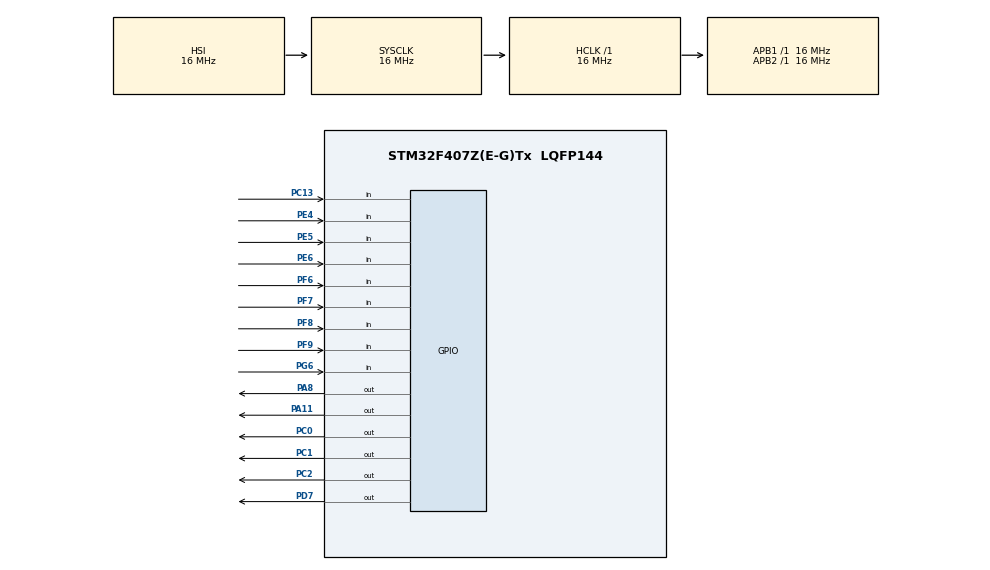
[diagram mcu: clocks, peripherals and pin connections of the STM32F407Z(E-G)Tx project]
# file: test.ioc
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Mcu.Family=STM32F4
Mcu.Name=STM32F407Z(E-G)Tx
Mcu.Package=LQFP144
NVIC.PriorityGroup=NVIC_PRIORITYGROUP_4
PA10.Signal=UART5_RX
PA11.Signal=GPIO_Output
PA13.Signal=SYS_JTMS-SWDIO
PA14.Signal=SYS_JTCK-SWCLK
PA3.Signal=USART2_RX
PA6.Signal=S_TIM3_CH1
PA7.Signal=S_TIM3_CH2
PA8.Signal=GPIO_Output
PA9.Signal=UART5_TX
PB10.Signal=I2C2_SCL
PB11.Signal=I2C2_SDA
PB12.Signal=SPI2_NSS
PB13.Signal=SPI2_SCK
PB14.Signal=SPI2_MISO
PB15.Signal=SPI2_MOSI
PC0.Signal=GPIO_Output
PC1.Signal=GPIO_Output
PC10.Signal=UART4_TX
PC11.Signal=UART4_RX
PC12.Signal=UART5_TX
PC13-ANTI_TAMP.Signal=GPIO_Input
PC14-OSC32_IN.Mode=LSE-External-Oscillator
PC14-OSC32_IN.Signal=RCC_OSC32_IN
PC15-OSC32_OUT.Mode=LSE-External-Oscillator
PC15-OSC32_OUT.Signal=RCC_OSC32_OUT
PC2.Signal=GPIO_Output
PC6.Signal=USART6_TX
PD0.Signal=FSMC_D2_DA2
PD1.Signal=FSMC_D3_DA3
PD10.Signal=FSMC_D15_DA15
PD11.Signal=FSMC_A16_CLE
PD12.Signal=FSMC_A17_ALE
PD13.Signal=FSMC_A18
PD14.Signal=FSMC_D0_DA0
PD15.Signal=FSMC_D1_DA1
PD2.Signal=UART5_RX
PD4.Signal=FSMC_NOE
PD5.Signal=FSMC_NWE
PD7.Signal=GPIO_Output
PD8.Signal=FSMC_D13_DA13
PD9.Signal=FSMC_D14_DA14
PE0.Signal=FSMC_NBL0
PE1.Signal=FSMC_NBL1
PE10.Signal=FSMC_D7_DA7
PE11.Signal=FSMC_D8_DA8
PE12.Signal=FSMC_D9_DA9
PE13.Signal=FSMC_D10_DA10
PE14.Signal=FSMC_D11_DA11
PE15.Signal=FSMC_D12_DA12
PE4.Signal=GPIO_Input
PE5.Signal=GPIO_Input
PE6.Signal=GPIO_Input
PE7.Signal=FSMC_D4_DA4
PE8.Signal=FSMC_D5_DA5
PE9.Signal=FSMC_D6_DA6
PF0.Signal=FSMC_A0
PF1.Signal=FSMC_A1
PF12.Signal=FSMC_A6
PF13.Signal=FSMC_A7
PF14.Signal=FSMC_A8
PF15.Signal=FSMC_A9
PF2.Signal=FSMC_A2
PF3.Signal=FSMC_A3
PF4.Signal=FSMC_A4
PF5.Signal=FSMC_A5
PF6.Signal=GPIO_Input
PF7.Signal=GPIO_Input
PF8.Signal=GPIO_Input
PF9.Signal=GPIO_Input
PG0.Signal=FSMC_A10
PG1.Signal=FSMC_A11
PG10.Signal=FSMC_NE3
PG2.Signal=FSMC_A12
PG3.Signal=FSMC_A13
PG4.Signal=FSMC_A14
PG5.Signal=FSMC_A15
PG6.Signal=GPIO_Input
PG9.Signal=FSMC_NE2
PH0-OSC_IN.Mode=HSE-External-Oscillator
PH0-OSC_IN.Signal=RCC_OSC_IN
PH1-OSC_OUT.Mode=HSE-External-Oscillator
PH1-OSC_OUT.Signal=RCC_OSC_OUT
ProjectManager.HeapSize=0x200
ProjectManager.StackSize=0x400
ProjectManager.TargetToolchain=MDK-ARM V5.32
RCC.AHBFreq_Value=16000000
RCC.APB1Freq_Value=16000000
RCC.APB2Freq_Value=16000000
RCC.CortexFreq_Value=16000000
RCC.HSE_VALUE=8000000
RCC.HSI_VALUE=16000000
RCC.SYSCLKFreq_VALUE=16000000
RCC.VCOOutputFreq_Value=192000000
SH.FSMC_A0.0=FSMC_A0
SH.FSMC_A1.0=FSMC_A1
SH.FSMC_A10.0=FSMC_A10
SH.FSMC_A11.0=FSMC_A11
SH.FSMC_A12.0=FSMC_A12
SH.FSMC_A13.0=FSMC_A13
SH.FSMC_A14.0=FSMC_A14
SH.FSMC_A15.0=FSMC_A15
SH.FSMC_A16_CLE.0=FSMC_A16
SH.FSMC_A17_ALE.0=FSMC_A17
SH.FSMC_A18.0=FSMC_A18
SH.FSMC_A2.0=FSMC_A2
SH.FSMC_A3.0=FSMC_A3
SH.FSMC_A4.0=FSMC_A4
SH.FSMC_A5.0=FSMC_A5
SH.FSMC_A6.0=FSMC_A6
SH.FSMC_A7.0=FSMC_A7
SH.FSMC_A8.0=FSMC_A8
SH.FSMC_A9.0=FSMC_A9
SH.FSMC_D0_DA0.0=FSMC_D0
SH.FSMC_D10_DA10.0=FSMC_D10
SH.FSMC_D11_DA11.0=FSMC_D11
SH.FSMC_D12_DA12.0=FSMC_D12
SH.FSMC_D13_DA13.0=FSMC_D13
SH.FSMC_D14_DA14.0=FSMC_D14
SH.FSMC_D15_DA15.0=FSMC_D15
SH.FSMC_D1_DA1.0=FSMC_D1
SH.FSMC_D2_DA2.0=FSMC_D2
SH.FSMC_D3_DA3.0=FSMC_D3
SH.FSMC_D4_DA4.0=FSMC_D4
SH.FSMC_D5_DA5.0=FSMC_D5
SH.FSMC_D6_DA6.0=FSMC_D6
SH.FSMC_D7_DA7.0=FSMC_D7
SH.FSMC_D8_DA8.0=FSMC_D8
SH.FSMC_D9_DA9.0=FSMC_D9
SH.FSMC_NBL0.0=FSMC_NBL0
SH.FSMC_NBL1.0=FSMC_NBL1
SH.FSMC_NOE.0=FSMC_NOE
SH.FSMC_NWE.0=FSMC_NWE
SH.S_TIM3_CH1.0=TIM3_CH1
SH.S_TIM3_CH2.0=TIM3_CH2
board=custom

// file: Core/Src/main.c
/* USER CODE BEGIN Header */

/**
  ******************************************************************************
  * @file           : main.c
  * @brief          : Main program body
  ******************************************************************************
  * @attention
  *
  * Copyright (c) 2026 STMicroelectronics.
  * All rights reserved.
  *
  * This software is licensed under terms that can be found in the LICENSE file
  * in the root directory of this software component.
  * If no LICENSE file comes with this software, it is provided AS-IS.
  *
  ******************************************************************************
  */

/* USER CODE END Header */
#include "main.h"

/* USER CODE BEGIN Includes */
#include "sys.h"
#include "delay.h"
#include "usart.h"
#include "usart2.h"
#include "led.h"
#include "atim.h"
#include "step_motor.h"
#include "pid.h"
#include "flash_param.h"
#include "exti.h"
#include "cmd_handler.h"
#include "rtc.h"

/************************************************/
/************************************************/
extern TIM_HandleTypeDef g_timx_encode_chy_handle;
extern TIM_HandleTypeDef timx_handler;      /* TIM6句柄，atim.c中定义 */
extern u8 time_run;
extern volatile u32 rx_debug_cnt;
u8 printf_flag = 0;
u8 run_flag = 0;
u8 run_printf_flag = 0;
u8 write_flag = 0;
u8 direction = 2;
int station_x = 0, station_k1 = 0;
int error = 0;
int32_t Encode_now;
int start = 0;
int DIR = 0; // 电机方向
int out;
int Ring = 0;
int Ding = 0;
int pulse_add;
int32_t force = 1000;
int32_t force_F = 2500;
int time_c = 100;
int duzhuan_flag;
int alarm = 0;
int undershoot_cnt = 0;  /* 欠冲计数 */
int overshoot_cnt = 0;   /* 过冲计数 */
int passhole_cnt = 0;    /* 过孔位计数 */
int32_t total_cycles = 0; /* 总转动孔位计数 (Flash持久化, 耐久验证) */
float SetPoint_C;

/*********** PID参数 ************/
float SetPoint_P;       /* 目标值 */
float ActualValue_P;    /* 实际值 */
float SumError_P;       /* 累计误差 */
float Proportion_P;     /* 比例 P */
float Integral_P;       /* 积分 I */
float Derivative_P;     /* 微分 D */
float Error_P;          /* Error[1] */
float LastError_P;      /* Error[-1] */
float PrevError_P;      /* Error[-2] */
float SetPoint_S;       /* 目标值 */
float ActualValue_S;    /* 实际值 */
float SumError_S;       /* 累计误差 */
float Proportion_S;     /* 比例 P */
float Integral_S;       /* 积分 I */
float Derivative_S;     /* 微分 D */
float Error_S;          /* Error[1] */
float LastError_S;      /* Error[-1] */
float PrevError_S;      /* Error[-2] */
float speed_m;          /* 电机速度 */
float location;         /* 位置 */
int32_t motor_pwm;      /* 电机PWM值 */
int32_t pulse_low = 14000;  // 进孔脉冲数 (慢速段起始)
int32_t pulse_buf = 30000;  // 缓冲段起始脉冲数 (三段式: 全速→缓冲→慢速)
int time_buf = 500;         // 缓冲段入口速度 (S曲线起点, 推荐 force的50%~70%)
int32_t pulse_out = 39000;  // 出孔脉冲数
int32_t pluse_ele = 34000;  // 光电检测脉冲限制
int loop1 = 0;
int loop2 = 0;
int PhotoPos = 1;
int32_t addr;
int32_t writeFlashData;
int dbg_print_ms = 0;                   /* 调试打印间隔(ms), 0=关闭 */

/* USER CODE END Includes */
void SystemClock_Config(void);

static void MX_GPIO_Init(void);

int main(void)
{

  /* USER CODE BEGIN 1 */
	u8 len;
    int32_t i = 0;
    //SCB->VTOR = FLASH_BASE | 0x10000;
  SCB->VTOR = FLASH_BASE;

  /* USER CODE END 1 */
  /* MCU Configuration--------------------------------------------------------*/
  /* Reset of all peripherals, Initializes the Flash interface and the Systick. */
  HAL_Init();

  /* USER CODE BEGIN Init */
    Stm32_Clock_Init();
    delay_init(168);
    rtc_init();                          /* 初始化RTC(从编译时间设初始值) */
    uart4_init(9600);
    USART_RX_STA = 0;                    /* 清除上电噪声导致的误接收 */
    for (i = 0; i < USART_REC_LEN; i++) USART_RX_BUF[i] = 0;
    //LED_Init();
    // atim_timx_pwm_chy_init moved after MX_GPIO_Init to avoid pin conflict
    TIM5_Init(5000 - 1, 8400 - 1);
    TIM4_Init(5000 - 1, 16800 - 1);
    step_motor_init();
    gtim_timx_encoder_chy_init(0XFFFF, 0);
    btim_timx_int_init(1000 - 1, 84 - 1);   /* 1ms中断，用于PID控制 */
    pid_init();

  /* USER CODE END Init */
  /* Configure the system clock - skipped: Stm32_Clock_Init() already configures 168MHz */
  /* SystemClock_Config(); */
  /* Initialize all configured peripherals */
  MX_GPIO_Init();

  /* Re-restore TIM1 pins overwritten by MX_GPIO_Init (PA8/PA11 need AF_PP for PWM) */
  atim_timx_pwm_chy_init(3600 - 1, 10);
  uart_init(115200);                     /* 直接寄存器配置，无需HAL */

  /* USER CODE BEGIN 2 */
    __enable_irq();                                            /* 开启全局中断，TIM6使用硬件中断 */
    USART_RX_STA = 0;                                          /* 清除开中断瞬间可能收到的噪声 */
	param_load_all();
  if (writeFlashData != 0) param_save_all();
  dcmotor_stop();
    // TIM4->CR1 |= TIM_CR1_CEN;                                  /* 启动TIM4(1s) */
    // TIM5->CR1 |= TIM_CR1_CEN;                                  /* 启动TIM5(500ms) */

  /* USER CODE END 2 */
  /* Infinite loop */
  /* USER CODE BEGIN WHILE */
  while (1)
    {

        /* TIM6使用硬件中断，无需轮询 */
        // /* TIM5: 500ms周期 */
        // if (TIM5->SR & TIM_SR_UIF) { TIM5->SR = ~TIM_SR_UIF; printf("T5:500ms\r\n"); }
        // /* TIM4: 1s周期 */
        // if (TIM4->SR & TIM_SR_UIF) { TIM4->SR = ~TIM_SR_UIF; printf("T4:1s\r\n"); }
        static u8 in1_last = 0xFF;  /* 0xFF=未初始化 */
        static u8 in2_last = 0xFF;
        u8 in1_now, in2_now;

        /* 首次运行，读取当前引脚值作为初始状态，避免误触发 */
        if (in1_last == 0xFF) {
            in1_last = HAL_GPIO_ReadPin(ST1_IN1_GPIO_PORT, ST1_IN1_GPIO_PIN);
            in2_last = HAL_GPIO_ReadPin(ST1_IN2_GPIO_PORT, ST1_IN2_GPIO_PIN);
        }

        /* UART5接收由UART5_IRQHandler硬件中断完成，主循环无需轮询 */
        if (USART_RX_STA_4 & 0x8000)
        {
            len = USART_RX_STA_4 & 0x3fff;
            USART_RX_STA_4 = 0;
            HAL_UART_Transmit(&UART4_Handler, (uint8_t *)USART_RX_BUF_4, len, 1000);
        }

        //printf("USART_RX_STA: 0x%04X\r\n", USART_RX_STA);
        if (USART_RX_STA & 0x8000)
        {
            len = USART_RX_STA & 0x3fff;
            USART_RX_STA = 0;

            /* 直接回显，绕过HAL */
            // for (i = 0; i < len; i++) {
            //     uint32_t timeout = 500000;
            //     while (!(UART5->SR & USART_SR_TC)) {
            //         if (--timeout == 0) break;
            //     }
            //     UART5->DR = USART_RX_BUF[i];
            // }
            //printf("\r\n");
            printf("USART_RX_BUF: %s\r\n", USART_RX_BUF);
            cmd_dispatch(USART_RX_BUF, len);
            for (i = 0; i < len; i++)
                USART_RX_BUF[i] = 0;
        }

        in1_now = HAL_GPIO_ReadPin(ST1_IN1_GPIO_PORT, ST1_IN1_GPIO_PIN);
        if (in1_now == 1 && in1_last == 0)
        {
            printf("复位信号,报警清除!\r\n");
            error = 0;
        }

        in1_last = in1_now;
        in2_now = HAL_GPIO_ReadPin(ST1_IN2_GPIO_PORT, ST1_IN2_GPIO_PIN);
        if (in2_now == 0 && in2_last == 1)  /* 下降沿检测：24V正常时IN2=1，断电后IN2=0 */
        {
            printf("急停信号!\r\n");
            dcmotor_stop();
            motor_pwm_set(0);
            run_flag = 0;
            run_printf_flag = 0;
            error = 1;
        }

        in2_last = in2_now;
        if (printf_flag == 1)
        {
            printf_flag = 0;
        }
    }

  /* USER CODE END 3 */
}

void SystemClock_Config(void)
{
  RCC_OscInitTypeDef RCC_OscInitStruct = {0};
  RCC_ClkInitTypeDef RCC_ClkInitStruct = {0};

  /** Configure the main internal regulator output voltage
  */
  __HAL_RCC_PWR_CLK_ENABLE();
  __HAL_PWR_VOLTAGESCALING_CONFIG(PWR_REGULATOR_VOLTAGE_SCALE1);

  /** Initializes the RCC Oscillators according to the specified parameters
  * in the RCC_OscInitTypeDef structure.
  */
  RCC_OscInitStruct.OscillatorType = RCC_OSCILLATORTYPE_HSI;
  RCC_OscInitStruct.HSIState = RCC_HSI_ON;
  RCC_OscInitStruct.HSICalibrationValue = RCC_HSICALIBRATION_DEFAULT;
  RCC_OscInitStruct.PLL.PLLState = RCC_PLL_NONE;
  if (HAL_RCC_OscConfig(&RCC_OscInitStruct) != HAL_OK)
  {
    Error_Handler();
  }

  /** Initializes the CPU, AHB and APB buses clocks
  */
  RCC_ClkInitStruct.ClockType = RCC_CLOCKTYPE_HCLK|RCC_CLOCKTYPE_SYSCLK
                              |RCC_CLOCKTYPE_PCLK1|RCC_CLOCKTYPE_PCLK2;
  RCC_ClkInitStruct.SYSCLKSource = RCC_SYSCLKSOURCE_HSI;
  RCC_ClkInitStruct.AHBCLKDivider = RCC_SYSCLK_DIV1;
  RCC_ClkInitStruct.APB1CLKDivider = RCC_HCLK_DIV1;
  RCC_ClkInitStruct.APB2CLKDivider = RCC_HCLK_DIV1;
  if (HAL_RCC_ClockConfig(&RCC_ClkInitStruct, FLASH_LATENCY_0) != HAL_OK)
  {
    Error_Handler();
  }
}

static void MX_GPIO_Init(void)
{
  GPIO_InitTypeDef GPIO_InitStruct = {0};

  /* GPIO Ports Clock Enable */
  __HAL_RCC_GPIOE_CLK_ENABLE();
  __HAL_RCC_GPIOC_CLK_ENABLE();
  __HAL_RCC_GPIOF_CLK_ENABLE();
  __HAL_RCC_GPIOH_CLK_ENABLE();
  __HAL_RCC_GPIOA_CLK_ENABLE();
  __HAL_RCC_GPIOG_CLK_ENABLE();
  __HAL_RCC_GPIOB_CLK_ENABLE();
  __HAL_RCC_GPIOD_CLK_ENABLE();

  /*Configure GPIO pin Output Level */
  HAL_GPIO_WritePin(GPIOD, GPIO_PIN_7, GPIO_PIN_RESET);

  /* --- 以下引脚由 step_motor_init() / atim_timx_pwm_chy_init() 管理，此处不再重复 --- */
  /* --- FSMC 引脚 (PF0~PF5, PF12~PF15) --- */
  GPIO_InitStruct.Pin = GPIO_PIN_0|GPIO_PIN_1|GPIO_PIN_2|GPIO_PIN_3
                          |GPIO_PIN_4|GPIO_PIN_5|GPIO_PIN_12|GPIO_PIN_13
                          |GPIO_PIN_14|GPIO_PIN_15;
  GPIO_InitStruct.Mode = GPIO_MODE_AF_PP;
  GPIO_InitStruct.Pull = GPIO_NOPULL;
  GPIO_InitStruct.Speed = GPIO_SPEED_FREQ_VERY_HIGH;
  GPIO_InitStruct.Alternate = GPIO_AF12_FSMC;
  HAL_GPIO_Init(GPIOF, &GPIO_InitStruct);

  /* --- PF6/PF7/PF8/PF9 由 step_motor_init() 管理 --- */
  /* --- PC0/PC1/PC2 由 step_motor_init() 管理 --- */
  /*Configure GPIO pin : PA3 */
  GPIO_InitStruct.Pin = GPIO_PIN_3;
  GPIO_InitStruct.Mode = GPIO_MODE_AF_PP;
  GPIO_InitStruct.Pull = GPIO_NOPULL;
  GPIO_InitStruct.Speed = GPIO_SPEED_FREQ_VERY_HIGH;
  GPIO_InitStruct.Alternate = GPIO_AF7_USART2;
  HAL_GPIO_Init(GPIOA, &GPIO_InitStruct);

  /*Configure GPIO pins : PA6 PA7 */
  GPIO_InitStruct.Pin = GPIO_PIN_6|GPIO_PIN_7;
  GPIO_InitStruct.Mode = GPIO_MODE_AF_PP;
  GPIO_InitStruct.Pull = GPIO_NOPULL;
  GPIO_InitStruct.Speed = GPIO_SPEED_FREQ_LOW;
  GPIO_InitStruct.Alternate = GPIO_AF2_TIM3;
  HAL_GPIO_Init(GPIOA, &GPIO_InitStruct);
  /*Configure GPIO pins : PG0 PG1 PG2 PG3
                           PG4 PG5 PG9 PG10 */
  GPIO_InitStruct.Pin = GPIO_PIN_0|GPIO_PIN_1|GPIO_PIN_2|GPIO_PIN_3
                          |GPIO_PIN_4|GPIO_PIN_5|GPIO_PIN_9|GPIO_PIN_10;
  GPIO_InitStruct.Mode = GPIO_MODE_AF_PP;
  GPIO_InitStruct.Pull = GPIO_NOPULL;
  GPIO_InitStruct.Speed = GPIO_SPEED_FREQ_VERY_HIGH;
  GPIO_InitStruct.Alternate = GPIO_AF12_FSMC;
  HAL_GPIO_Init(GPIOG, &GPIO_InitStruct);
  /*Configure GPIO pins : PE7 PE8 PE9 PE10
                           PE11 PE12 PE13 PE14
                           PE15 PE0 PE1 */
  GPIO_InitStruct.Pin = GPIO_PIN_7|GPIO_PIN_8|GPIO_PIN_9|GPIO_PIN_10
                          |GPIO_PIN_11|GPIO_PIN_12|GPIO_PIN_13|GPIO_PIN_14
                          |GPIO_PIN_15|GPIO_PIN_0|GPIO_PIN_1;
  GPIO_InitStruct.Mode = GPIO_MODE_AF_PP;
  GPIO_InitStruct.Pull = GPIO_NOPULL;
  GPIO_InitStruct.Speed = GPIO_SPEED_FREQ_VERY_HIGH;
  GPIO_InitStruct.Alternate = GPIO_AF12_FSMC;
  HAL_GPIO_Init(GPIOE, &GPIO_InitStruct);

  /*Configure GPIO pins : PB10 PB11 */
  GPIO_InitStruct.Pin = GPIO_PIN_10|GPIO_PIN_11;
  GPIO_InitStruct.Mode = GPIO_MODE_AF_OD;
  GPIO_InitStruct.Pull = GPIO_NOPULL;
  GPIO_InitStruct.Speed = GPIO_SPEED_FREQ_VERY_HIGH;
  GPIO_InitStruct.Alternate = GPIO_AF4_I2C2;
  HAL_GPIO_Init(GPIOB, &GPIO_InitStruct);

  /*Configure GPIO pins : PB12 PB13 PB14 PB15 */
  GPIO_InitStruct.Pin = GPIO_PIN_12|GPIO_PIN_13|GPIO_PIN_14|GPIO_PIN_15;
  GPIO_InitStruct.Mode = GPIO_MODE_AF_PP;
  GPIO_InitStruct.Pull = GPIO_NOPULL;
  GPIO_InitStruct.Speed = GPIO_SPEED_FREQ_VERY_HIGH;
  GPIO_InitStruct.Alternate = GPIO_AF5_SPI2;
  HAL_GPIO_Init(GPIOB, &GPIO_InitStruct);
  /*Configure GPIO pins : PD8 PD9 PD10 PD11
                           PD12 PD13 PD14 PD15
                           PD0 PD1 PD4 PD5 */
  GPIO_InitStruct.Pin = GPIO_PIN_8|GPIO_PIN_9|GPIO_PIN_10|GPIO_PIN_11
                          |GPIO_PIN_12|GPIO_PIN_13|GPIO_PIN_14|GPIO_PIN_15
                          |GPIO_PIN_0|GPIO_PIN_1|GPIO_PIN_4|GPIO_PIN_5;
  GPIO_InitStruct.Mode = GPIO_MODE_AF_PP;
  GPIO_InitStruct.Pull = GPIO_NOPULL;
  GPIO_InitStruct.Speed = GPIO_SPEED_FREQ_VERY_HIGH;
  GPIO_InitStruct.Alternate = GPIO_AF12_FSMC;
  HAL_GPIO_Init(GPIOD, &GPIO_InitStruct);

  /*Configure GPIO pin : PG6 (DM9000-INT) */
  GPIO_InitStruct.Pin = GPIO_PIN_6;
  GPIO_InitStruct.Mode = GPIO_MODE_INPUT;
  GPIO_InitStruct.Pull = GPIO_NOPULL;
  HAL_GPIO_Init(GPIOG, &GPIO_InitStruct);

  /*Configure GPIO pin : PC6 */
  GPIO_InitStruct.Pin = GPIO_PIN_6;
  GPIO_InitStruct.Mode = GPIO_MODE_AF_PP;
  GPIO_InitStruct.Pull = GPIO_NOPULL;
  GPIO_InitStruct.Speed = GPIO_SPEED_FREQ_VERY_HIGH;
  GPIO_InitStruct.Alternate = GPIO_AF8_USART6;
  HAL_GPIO_Init(GPIOC, &GPIO_InitStruct);

  /* --- PA8/PA11 由 atim_timx_pwm_chy_init() (TIM1 PWM) 管理 --- */
  /* --- PC12(TX)/PD2(RX) 由 uart_init (UART5) 管理 --- */
  /*Configure GPIO pins : PC10 PC11 */
  GPIO_InitStruct.Pin = GPIO_PIN_10|GPIO_PIN_11;
  GPIO_InitStruct.Mode = GPIO_MODE_AF_PP;
  GPIO_InitStruct.Pull = GPIO_NOPULL;
  GPIO_InitStruct.Speed = GPIO_SPEED_FREQ_VERY_HIGH;
  GPIO_InitStruct.Alternate = GPIO_AF8_UART4;
  HAL_GPIO_Init(GPIOC, &GPIO_InitStruct);

  /*Configure GPIO pin : PC12 */
  GPIO_InitStruct.Pin = GPIO_PIN_12;
  GPIO_InitStruct.Mode = GPIO_MODE_AF_PP;
  GPIO_InitStruct.Pull = GPIO_NOPULL;
  GPIO_InitStruct.Speed = GPIO_SPEED_FREQ_VERY_HIGH;
  GPIO_InitStruct.Alternate = GPIO_AF8_UART5;
  HAL_GPIO_Init(GPIOC, &GPIO_InitStruct);

  /*Configure GPIO pin : PD2 */
  GPIO_InitStruct.Pin = GPIO_PIN_2;
  GPIO_InitStruct.Mode = GPIO_MODE_AF_PP;
  GPIO_InitStruct.Pull = GPIO_NOPULL;
  GPIO_InitStruct.Speed = GPIO_SPEED_FREQ_VERY_HIGH;
  GPIO_InitStruct.Alternate = GPIO_AF8_UART5;
  HAL_GPIO_Init(GPIOD, &GPIO_InitStruct);

  /*Configure GPIO pin : PD7 (DM9000-RST) */
  GPIO_InitStruct.Pin = GPIO_PIN_7;
  GPIO_InitStruct.Mode = GPIO_MODE_OUTPUT_PP;
  GPIO_InitStruct.Pull = GPIO_NOPULL;
  GPIO_InitStruct.Speed = GPIO_SPEED_FREQ_LOW;
  HAL_GPIO_Init(GPIOD, &GPIO_InitStruct);

}

void Error_Handler(void)
{

  __disable_irq();
  while (1)
  {
  }
}
